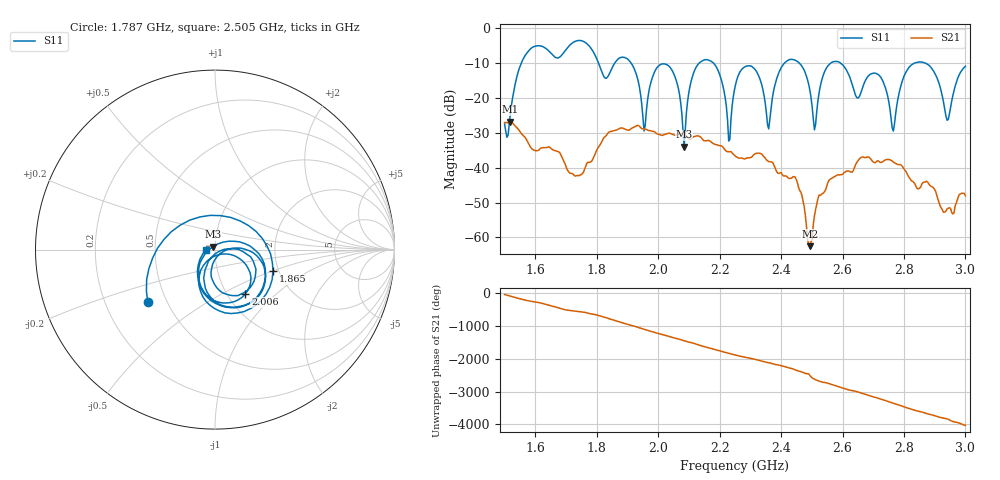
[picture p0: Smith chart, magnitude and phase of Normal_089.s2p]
# HZ S RI R 50
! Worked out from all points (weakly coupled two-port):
!   404 points, 1.5 GHz to 3 GHz, reference 50 ohm
!   highest |S21| = -26.81 dB at 1.519 GHz (marker M1); lowest = -62.5 dB at 2.494 GHz (marker M2)
!   lowest |S11| = -34.0 dB at 2.084 GHz (marker M3), VSWR 1.04, Z = 48.9 + j1.61 ohm
!   |S11| at or under -10 dB: 1.912 GHz to 2.134 GHz (221.7 MHz wide, 11 % of centre); 2.18 GHz to 2.411 GHz (231.2 MHz wide, 10.1 % of centre); 2.594 GHz to 2.834 GHz (240.6 MHz wide, 8.87 % of centre) (the widest 3 of 7)
!   S12 and S22 are empty: the file has one direction only
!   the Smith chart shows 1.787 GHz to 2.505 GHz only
!   S11 on the Smith chart (normalised r, x): 1.787 GHz: 0.39, -0.30; 1.865 GHz: 1.86, -0.50; 2.006 GHz: 1.21, -0.66; 2.505 GHz: 0.91, -0.00
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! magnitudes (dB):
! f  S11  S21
! 1.5 GHz  -27.5  -27.1
! 1.519 GHz  -24.5  -26.8
! 1.582 GHz  -6.1  -33.7
! 1.753 GHz  -3.6  -41.7
! 1.787 GHz  -6.4  -37.7
! 1.865 GHz  -9.3  -29.2
! 1.954 GHz  -29.5  -28.9
! 2.002 GHz  -10.7  -30.5
! 2.006 GHz  -10.5  -30.5
! 2.084 GHz  -34.0  -30.4
! 2.136 GHz  -9.8  -31.1
! 2.23 GHz  -32.4  -35.4
! 2.252 GHz  -16.1  -36.8
! 2.36 GHz  -28.9  -38.3
! 2.445 GHz  -9.1  -42.6
! 2.494 GHz  -17.8  -62.5
! 2.501 GHz  -22.6  -60.6
! 2.505 GHz  -26.1  -56.2
! 2.572 GHz  -9.6  -42.7
! 2.751 GHz  -21.1  -37.7
! 2.944 GHz  -26.2  -51.6
! 3 GHz  -10.9  -48.1
